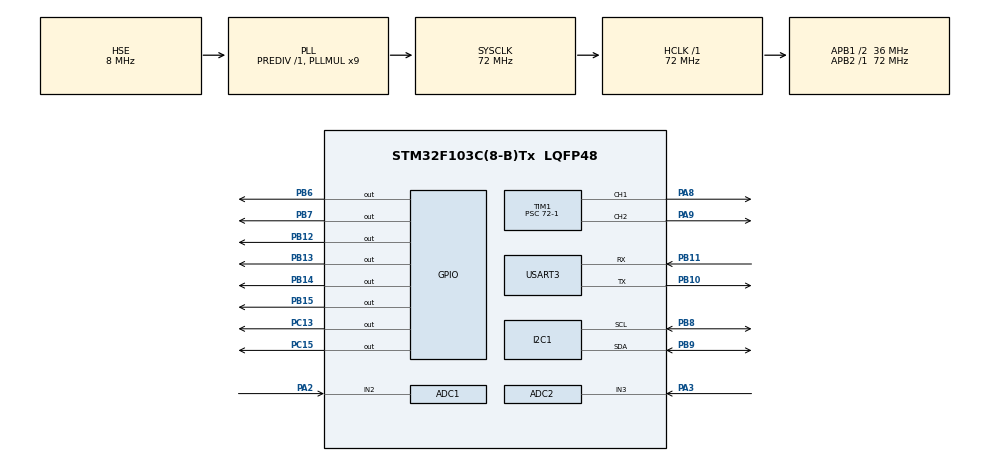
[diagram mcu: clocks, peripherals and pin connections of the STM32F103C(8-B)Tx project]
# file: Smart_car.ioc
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ADC1.Channel-0\#ChannelRegularConversion=ADC_CHANNEL_2
ADC1.ContinuousConvMode=ENABLE
ADC1.EnableAnalogWatchDog=false
ADC1.NbrOfConversionFlag=1
ADC1.Rank-0\#ChannelRegularConversion=1
ADC1.SamplingTime-0\#ChannelRegularConversion=ADC_SAMPLETIME_1CYCLE_5
ADC1.master=1
ADC2.Channel-0\#ChannelRegularConversion=ADC_CHANNEL_3
ADC2.NbrOfConversionFlag=1
ADC2.Rank-0\#ChannelRegularConversion=1
ADC2.SamplingTime-0\#ChannelRegularConversion=ADC_SAMPLETIME_1CYCLE_5
Mcu.Family=STM32F1
Mcu.Name=STM32F103C(8-B)Tx
Mcu.Package=LQFP48
NVIC.ADC1_2_IRQn=true\:14\:0\:true\:false\:true\:true\:true\:true
NVIC.PriorityGroup=NVIC_PRIORITYGROUP_4
NVIC.TIM3_IRQn=true\:1\:0\:true\:false\:true\:true\:true\:true
NVIC.USART3_IRQn=true\:0\:0\:false\:false\:true\:true\:true\:true
PA0-WKUP.Signal=S_TIM2_CH1_ETR
PA1.GPIO_PuPd=GPIO_PULLUP
PA1.Signal=S_TIM2_CH2
PA13.Mode=Serial_Wire
PA13.Signal=SYS_JTMS-SWDIO
PA14.Mode=Serial_Wire
PA14.Signal=SYS_JTCK-SWCLK
PA2.Signal=ADCx_IN2
PA3.Signal=ADCx_IN3
PA6.Signal=S_TIM3_CH1
PA7.Signal=S_TIM3_CH2
PA8.Signal=S_TIM1_CH1
PA9.Signal=S_TIM1_CH2
PB10.Mode=Asynchronous
PB10.Signal=USART3_TX
PB11.Mode=Asynchronous
PB11.Signal=USART3_RX
PB12.Signal=GPIO_Output
PB13.Signal=GPIO_Output
PB14.Signal=GPIO_Output
PB15.Signal=GPIO_Output
PB6.Signal=GPIO_Output
PB7.Signal=GPIO_Output
PB8.Mode=I2C
PB8.Signal=I2C1_SCL
PB9.Mode=I2C
PB9.Signal=I2C1_SDA
PC13-TAMPER-RTC.Signal=GPIO_Output
PC15-OSC32_OUT.Signal=GPIO_Output
PD0-OSC_IN.Mode=HSE-External-Oscillator
PD0-OSC_IN.Signal=RCC_OSC_IN
PD1-OSC_OUT.Mode=HSE-External-Oscillator
PD1-OSC_OUT.Signal=RCC_OSC_OUT
ProjectManager.HeapSize=0x200
ProjectManager.StackSize=0x400
ProjectManager.TargetToolchain=MDK-ARM V5.32
RCC.ADCPresc=RCC_ADCPCLK2_DIV6
RCC.AHBFreq_Value=72000000
RCC.APB1CLKDivider=RCC_HCLK_DIV2
RCC.APB1Freq_Value=36000000
RCC.APB1TimFreq_Value=72000000
RCC.APB2Freq_Value=72000000
RCC.APB2TimFreq_Value=72000000
RCC.HCLKFreq_Value=72000000
RCC.PLLMUL=RCC_PLL_MUL9
RCC.PLLSourceVirtual=RCC_PLLSOURCE_HSE
RCC.SYSCLKFreq_VALUE=72000000
RCC.SYSCLKSource=RCC_SYSCLKSOURCE_PLLCLK
RCC.USBFreq_Value=72000000
SH.ADCx_IN2.0=ADC1_IN2,IN2
SH.ADCx_IN3.0=ADC2_IN3,IN3
SH.S_TIM1_CH1.0=TIM1_CH1,PWM Generation1 CH1
SH.S_TIM1_CH2.0=TIM1_CH2,PWM Generation2 CH2
SH.S_TIM2_CH1_ETR.0=TIM2_CH1
SH.S_TIM2_CH2.0=TIM2_CH2
SH.S_TIM3_CH1.0=TIM3_CH1
SH.S_TIM3_CH2.0=TIM3_CH2
TIM1.Channel-PWM\ Generation1\ CH1=TIM_CHANNEL_1
TIM1.Channel-PWM\ Generation2\ CH2=TIM_CHANNEL_2
TIM1.Period=10000-1
TIM1.Prescaler=72-1
TIM2.Period=65535
TIM2.Prescaler=72-1
TIM3.Period=10000
TIM3.Prescaler=72-1
USART3.VirtualMode=VM_ASYNC
VP_TIM1_VS_ClockSourceINT.Mode=Internal
VP_TIM2_VS_ClockSourceINT.Mode=Internal
VP_TIM3_VS_ClockSourceINT.Mode=Internal
board=custom

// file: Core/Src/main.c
/* USER CODE BEGIN Header */
/**
  ******************************************************************************
  * @file           : main.c
  * @brief          : Main program body
  ******************************************************************************
  * @attention
  *
  * Copyright (c) 2024 STMicroelectronics.
  * All rights reserved.
  *
  * This software is licensed under terms that can be found in the LICENSE file
  * in the root directory of this software component.
  * If no LICENSE file comes with this software, it is provided AS-IS.
  *
  ******************************************************************************
  */
/* USER CODE END Header */
#include "main.h"
#include "adc.h"
#include "i2c.h"
#include "tim.h"
#include "usart.h"
#include "gpio.h"

/* USER CODE BEGIN Includes */
#include <stdio.h>
#include <String.h>
#include "math.h"
#include "L298N.h"
#include "OLED.h"
#include "vofa.h"
#include "matrix_keyboard.h"
#include "convert.h"
#include "pid.h"
#include "Bluetooth.h"
#include "adc_get.h"
#include "stdbool.h"

//#include "matrix_keyboard.h"
/* USER CODE BEGIN 4 */

/* USER CODE END 4 */

/* USER CODE END Includes */

void SystemClock_Config(void);

/* USER CODE BEGIN 0 */

extern tPid pidMotor1Speed;
extern uint8_t rx_buff;
extern uint16_t ADC_Value; //定义一个变量，存放ADC返回的值

double pi=3.1415;

float kp_x=0.0;
float ki_x=0.0;
float kd_x=0.0;
float target_value;
float Speed_out;

extern float angle;

extern float time;
int stat=-1;

int key1=0;
int key2=0;

int Dr;
extern Motor motor1;
extern float speed;

float kp_x;
float ki_x;
float kd_x;
/* USER CODE END 0 */

int main(void)
{

  /* MCU Configuration--------------------------------------------------------*/

  /* Reset of all peripherals, Initializes the Flash interface and the Systick. */
  HAL_Init();

  /* Configure the system clock */
  SystemClock_Config();

  /* Initialize all configured peripherals */
  MX_GPIO_Init();
  MX_TIM2_Init();
  MX_TIM3_Init();
  MX_I2C1_Init();
  MX_ADC1_Init();
  MX_ADC2_Init();
  MX_TIM1_Init();
  MX_USART3_UART_Init();
  /* USER CODE BEGIN 2 */

	Motor_Init();
  OLED_Init();              //OLED屏初始化
	PID_init();               //PID初始化

	HAL_UART_Receive_IT(&huart3, (uint8_t *)&rx_buff, 1);

  //定时器初始化

	OLED_Clear();

	//pwm初始化
  HAL_TIM_PWM_Start(&htim1,TIM_CHANNEL_1);
  HAL_TIM_PWM_Start(&htim1,TIM_CHANNEL_2);

  __HAL_TIM_SET_COMPARE(&htim1, TIM_CHANNEL_1,8000);//   电压 3/10 * 12

 HAL_Delay(1000);

  HAL_TIM_Base_Start_IT(&htim2);
	HAL_TIM_Base_Start_IT(&htim3);

 kp_x=20.0;ki_x=15.0;kd_x=6.0;     //PID

  /* USER CODE END 2 */

  /* Infinite loop */
  /* USER CODE BEGIN WHILE */
	//130°在顶
  while (1)
  {

	  OLED_Showdecimal(0,0,stat,1,1,16);
		OLED_Showdecimal(0,2,Dir(),1,0,16); // 往右摆是0 往左摆是1
		OLED_Showdecimal(32,2,read_pin(),1,0,16);//0往左走 1往右走
		OLED_Showdecimal(32,4,3000+10*Speed_out,4,4,16);
		OLED_Showdecimal(0,6,angle,3,3,16);
//		OLED_Showdecimal(0,2,motor1.speed,3,3,16);
//		OLED_Showdecimal(0,4,target_value,3,3,16);

		if(stat==-1){

	  stat=10;

		time=0;

		}

      //画圆
		//start
//	  if(stat==0||stat==1){__HAL_TIM_SET_COMPARE(&htim1, TIM_CHANNEL_1,9500);}
//		if(stat==3||stat==4){__HAL_TIM_SET_COMPARE(&htim1, TIM_CHANNEL_1,9000);}
//		if(stat==5||stat==6){__HAL_TIM_SET_COMPARE(&htim1, TIM_CHANNEL_1,9000);}
//
//		if(stat==0){if(time>1.0){stat=1;time=0;}  else{R();} if(angle<330&&angle>320){stat=3;HAL_Delay(10);  }   }
//		if(stat==1){if(time>0.5){stat=0;time=0;}  else{L();} if(angle>165&&angle<175) {stat=4; HAL_Delay(10); }  }
//
//
//
//		if(stat==4){if(key1==0){time=0;key1=1;}if(time>1.2){stat=3;time=0;}  else{R();} if(angle<290&&angle>280){time=0;stat=5;HAL_Delay(10);}  }
//		if(stat==3){if(key1==0){time=0;key1=1;}if(time>0.6){stat=4;time=0;}  else{L();} if(angle>205&&angle<220){time=0;stat=6;HAL_Delay(10);}  }
//
//
//
//		if(stat==6){if(key1==1){time=0;key1=0;}if(time>1.8){stat=5;time=0;}  else{R();} if(angle<250&&angle>230){time=0;stat=7;HAL_Delay(50);}  }
//		if(stat==5){if(key1==1){time=0;key1=0;}if(time>0.9){stat=6;time=0;}  else{L();} if(angle>230&&angle<250){time=0;stat=8;HAL_Delay(50);}  }
//
//		if(stat==7){if(key1==0){time=0;key1=1;}if(time>0.6){stat=8;time=0;}  else{R();}  }
//		if(stat==8){if(key1==0){time=0;key1=1;}if(time>0.1){stat=7;time=0;}  else{L();}  }
//

//
//		if(stat==9){stop();}
//

	 //直立PID，pid在上面调

		if(stat==10){

		  Speed_out=PID_x(122,angle,kp_x,ki_x,kd_x);
			if(angle>122){ __HAL_TIM_SET_COMPARE(&htim1, TIM_CHANNEL_1,3000-30*Speed_out); }
			else if(angle<122 )         { __HAL_TIM_SET_COMPARE(&htim1, TIM_CHANNEL_1,3000+30*Speed_out); }

		}

		/*if(angle<90&&(angle>270&&angle<360)){

		}

    if(angle>135&&angle<225){

		}*/

    // printf("%d",a);

	 	//TargetTracking();

		// HAL_GPIO_WritePin(LED_GPIO_Port, LED_Pin, GPIO_PIN_RESET);

		//OLED_ShowNum(1,1,key1,3,16);

		//Forward();

    /* USER CODE END WHILE */

    /* USER CODE BEGIN 3 */
		vodka_JustFloat_send(&huart3); // vofa

}

  /* USER CODE END 3 */
}

void SystemClock_Config(void)
{
  RCC_OscInitTypeDef RCC_OscInitStruct = {0};
  RCC_ClkInitTypeDef RCC_ClkInitStruct = {0};
  RCC_PeriphCLKInitTypeDef PeriphClkInit = {0};

  /** Initializes the RCC Oscillators according to the specified parameters
  * in the RCC_OscInitTypeDef structure.
  */
  RCC_OscInitStruct.OscillatorType = RCC_OSCILLATORTYPE_HSE;
  RCC_OscInitStruct.HSEState = RCC_HSE_ON;
  RCC_OscInitStruct.HSEPredivValue = RCC_HSE_PREDIV_DIV1;
  RCC_OscInitStruct.HSIState = RCC_HSI_ON;
  RCC_OscInitStruct.PLL.PLLState = RCC_PLL_ON;
  RCC_OscInitStruct.PLL.PLLSource = RCC_PLLSOURCE_HSE;
  RCC_OscInitStruct.PLL.PLLMUL = RCC_PLL_MUL9;
  if (HAL_RCC_OscConfig(&RCC_OscInitStruct) != HAL_OK)
  {
    Error_Handler();
  }

  /** Initializes the CPU, AHB and APB buses clocks
  */
  RCC_ClkInitStruct.ClockType = RCC_CLOCKTYPE_HCLK|RCC_CLOCKTYPE_SYSCLK
                              |RCC_CLOCKTYPE_PCLK1|RCC_CLOCKTYPE_PCLK2;
  RCC_ClkInitStruct.SYSCLKSource = RCC_SYSCLKSOURCE_PLLCLK;
  RCC_ClkInitStruct.AHBCLKDivider = RCC_SYSCLK_DIV1;
  RCC_ClkInitStruct.APB1CLKDivider = RCC_HCLK_DIV2;
  RCC_ClkInitStruct.APB2CLKDivider = RCC_HCLK_DIV1;

  if (HAL_RCC_ClockConfig(&RCC_ClkInitStruct, FLASH_LATENCY_2) != HAL_OK)
  {
    Error_Handler();
  }
  PeriphClkInit.PeriphClockSelection = RCC_PERIPHCLK_ADC;
  PeriphClkInit.AdcClockSelection = RCC_ADCPCLK2_DIV6;
  if (HAL_RCCEx_PeriphCLKConfig(&PeriphClkInit) != HAL_OK)
  {
    Error_Handler();
  }
}

void Error_Handler(void)
{
  __disable_irq();
  while (1)
  {
  }
}
